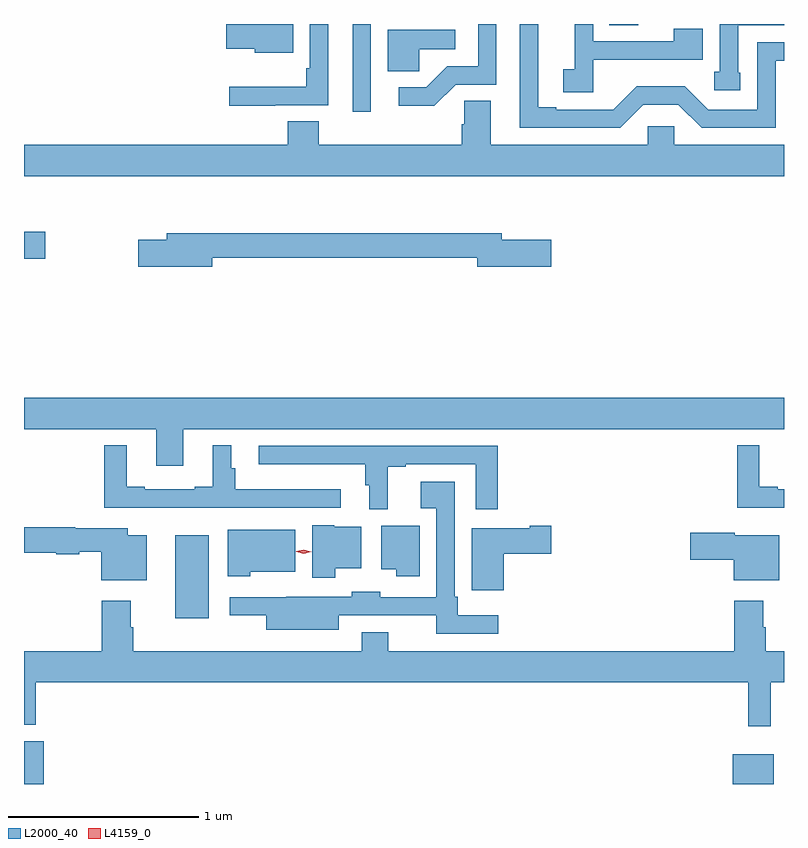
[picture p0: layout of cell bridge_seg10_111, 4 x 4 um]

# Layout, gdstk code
import gdstk
lib = gdstk.Library(unit=1e-6, precision=1e-09)
def R(c, l, rs):  # rectangles x0, y0, x1, y1
    for r in rs: c.add(gdstk.rectangle(r[:2], r[2:], *l))
def P(c, l, *ps):  # polygons
    for p in ps: c.add(gdstk.Polygon(p, *l))
L2000_40 = (2000, 40)
L4159_0 = (4159, 0)

bridge_seg10_111 = lib.new_cell('bridge_seg10_111')
R(bridge_seg10_111, L2000_40, [(442.678,1255.824,442.781,1256.05), (446.408,1255.824,446.623,1255.981), (443.474,1256.696,443.65,1257.133), (442.678,1258.589,442.789,1258.731), (444.408,1259.361,444.504,1259.824), (445.759,1259.818,445.911,1259.824)])
P(bridge_seg10_111, L2000_40, [(446.449,1259.568),(446.436,1259.568),(446.436,1259.817),(446.678,1259.817),(446.678,1259.824),(446.34,1259.824),(446.34,1259.574),(446.31,1259.574),(446.31,1259.475),(446.449,1259.475)],
  [(445.938,1259.4),(446.121,1259.4),(446.244,1259.277),(446.634,1259.277),(446.634,1259.631),(446.678,1259.631),(446.678,1259.727),(446.538,1259.727),(446.538,1259.373),(446.28,1259.373),(446.156,1259.497),(445.902,1259.497),(445.778,1259.373),(445.48,1259.373),(445.48,1259.386),(445.384,1259.386),(445.384,1259.824),(445.287,1259.824),(445.287,1259.277),(445.815,1259.277)],
  [(445.674,1259.636),(446.141,1259.636),(446.141,1259.637),(446.251,1259.637),(446.251,1259.798),(446.098,1259.798),(446.098,1259.733),(445.674,1259.733),(445.674,1259.824),(445.577,1259.824),(445.577,1259.586),(445.515,1259.586),(445.515,1259.466),(445.674,1259.466)],
  [(444.951,1259.505),(445.164,1259.505),(445.164,1259.824),(445.068,1259.824),(445.068,1259.601),(444.906,1259.601),(444.795,1259.49),(444.651,1259.49),(444.651,1259.393),(444.838,1259.393)],
  [(444.094,1259.824),(443.742,1259.824),(443.742,1259.693),(443.892,1259.693),(443.892,1259.672),(444.094,1259.672)],
  [(444.001,1259.397),(444.279,1259.397),(444.279,1259.824),(444.183,1259.824),(444.183,1259.59),(444.163,1259.59),(444.163,1259.494),(443.757,1259.494),(443.757,1259.393),(444.001,1259.393)],
  [(444.757,1259.69),(444.949,1259.69),(444.949,1259.794),(444.593,1259.794),(444.593,1259.576),(444.757,1259.576)],
  [(444.065,1259.312),(444.065,1259.188),(442.678,1259.188),(442.678,1259.024),(446.678,1259.024),(446.678,1259.188),(446.1,1259.188),(446.1,1259.286),(445.962,1259.286),(445.962,1259.188),(445.135,1259.188),(445.135,1259.42),(444.996,1259.42),(444.996,1259.297),(444.983,1259.297),(444.983,1259.188),(444.23,1259.188),(444.23,1259.312)],
  [(443.668,1258.594),(445.064,1258.594),(445.064,1258.547),(445.453,1258.547),(445.453,1258.689),(445.192,1258.689),(445.192,1258.723),(443.429,1258.723),(443.429,1258.689),(443.28,1258.689),(443.28,1258.547),(443.668,1258.547)],
  [(443.515,1257.692),(446.678,1257.692),(446.678,1257.856),(442.678,1257.856),(442.678,1257.692),(443.375,1257.692),(443.375,1257.498),(443.515,1257.498)],
  [(446.678,1257.375),(446.644,1257.375),(446.644,1257.388),(446.548,1257.388),(446.548,1257.607),(446.431,1257.607),(446.431,1257.278),(446.678,1257.278)],
  [(443.646,1257.279),(444.346,1257.279),(444.346,1257.376),(443.789,1257.376),(443.789,1257.486),(443.77,1257.486),(443.77,1257.607),(443.672,1257.607),(443.672,1257.388),(443.576,1257.388),(443.576,1257.375),(443.314,1257.375),(443.314,1257.388),(443.218,1257.388),(443.218,1257.607),(443.101,1257.607),(443.101,1257.279),(443.378,1257.279),(443.378,1257.278),(443.646,1257.278)],
  [(444.592,1257.495),(444.688,1257.495),(444.688,1257.507),(445.056,1257.507),(445.056,1257.27),(445.172,1257.27),(445.172,1257.603),(443.913,1257.603),(443.913,1257.506),(444.475,1257.506),(444.475,1257.396),(444.494,1257.396),(444.494,1257.27),(444.592,1257.27)],
  [(445.174,1256.713),(444.962,1256.713),(444.962,1256.809),(444.945,1256.809),(444.945,1257.415),(444.765,1257.415),(444.765,1257.275),(444.849,1257.275),(444.849,1256.808),(444.552,1256.808),(444.552,1256.836),(444.402,1256.836),(444.402,1256.809),(444.058,1256.809),(444.058,1256.808),(443.76,1256.808),(443.76,1256.711),(443.954,1256.711),(443.954,1256.636),(444.334,1256.636),(444.334,1256.712),(444.652,1256.712),(444.652,1256.711),(444.847,1256.711),(444.847,1256.616),(445.174,1256.616)],
  [(444.316,1256.96),(444.454,1256.96),(444.454,1257.178),(444.312,1257.178),(444.312,1257.187),(444.194,1257.187),(444.194,1256.91),(444.316,1256.91)],
  [(444.76,1257.184),(444.557,1257.184),(444.557,1256.954),(444.638,1256.954),(444.638,1256.918),(444.76,1256.918)],
  [(445.204,1257.035),(445.453,1257.035),(445.453,1257.182),(445.34,1257.182),(445.34,1257.169),(445.034,1257.169),(445.034,1256.947),(445.035,1256.947),(445.035,1256.844),(445.204,1256.844)],
  [(443.323,1257.133),(443.224,1257.133),(443.224,1257.169),(442.948,1257.169),(442.948,1257.176),(442.678,1257.176),(442.678,1257.04),(442.848,1257.04),(442.848,1257.032),(442.968,1257.032),(442.968,1257.047),(443.084,1257.047),(443.084,1256.897),(443.323,1256.897)],
  [(443.868,1256.942),(444.106,1256.942),(444.106,1257.163),(443.75,1257.163),(443.75,1256.918),(443.868,1256.918)],
  [(446.653,1257.133),(446.418,1257.133),(446.418,1257.146),(446.184,1257.146),(446.184,1257.004),(446.414,1257.004),(446.414,1256.897),(446.653,1256.897)],
  [(446.609,1256.36),(446.678,1256.36),(446.678,1256.524),(446.582,1256.524),(446.582,1256.648),(446.569,1256.648),(446.569,1256.788),(446.417,1256.788),(446.417,1256.524),(444.595,1256.524),(444.595,1256.623),(444.455,1256.623),(444.455,1256.524),(443.252,1256.524),(443.252,1256.648),(443.239,1256.648),(443.239,1256.788),(443.087,1256.788),(443.087,1256.524),(442.678,1256.524),(442.678,1256.135),(442.739,1256.135),(442.739,1256.36),(446.491,1256.36),(446.491,1256.127),(446.609,1256.127)])
P(bridge_seg10_111, L4159_0, [(444.15,1257.037),(444.11,1257.047),(444.11,1257.048),(444.11,1257.048),(444.15,1257.057),(444.19,1257.047),(444.19,1257.047),(444.19,1257.047)])

lib.write_gds('bridge_seg10_111.gds')
